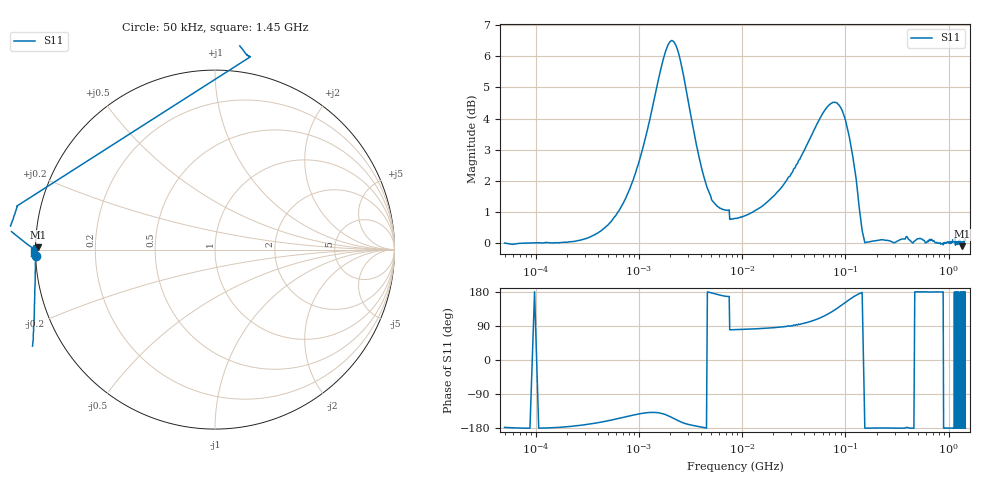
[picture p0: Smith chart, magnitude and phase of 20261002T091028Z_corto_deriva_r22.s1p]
! piloto_deriva / corto_deriva / r22
# HZ S RI R 50
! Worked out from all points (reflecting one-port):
!   501 points, 50 kHz to 1.45 GHz, reference 50 ohm
!   lowest |S11| = -0.1 dB at 1.351 GHz (marker M1), VSWR 162.94, Z = 0.307 + j0.303 ohm
!   phase of S11 starts at -178 deg and turns -2 deg over the sweep
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50000  -0.9986 -0.0379
183000  -1.001 -0.052
373000  -1.004 -0.2329
658000  -1.014 -0.5105
1180000  -1.134 -0.9761
1630000  -1.47 -1.211
1990000  -1.807 -1.081
2170000  -1.898 -0.9163
2440000  -1.901 -0.6443
3070000  -1.633 -0.2706
4330000  -1.264 -0.0297
7300000  -1.101 0.2429
7750000  0.1941 1.074
8560000  0.1885 1.078
1.99e7  0.1014 1.182
3.16e7  -0.0575 1.315
4.69e7  -0.324 1.454
6.76e7  -0.8601 1.419
7.93e7  -1.14 1.237
9.37e7  -1.356 0.9004
9.82e7  -1.385 0.7835
1e8  -1.391 0.7398
1.18e8  -1.331 0.3388
1.36e8  -1.134 0.1002
1.63e8  -1.003 -0.00373
4.06e8  -1.014 -0.0209
1.351e9  -0.9877 0.012
1.45e9  -1.009 -0.00642
